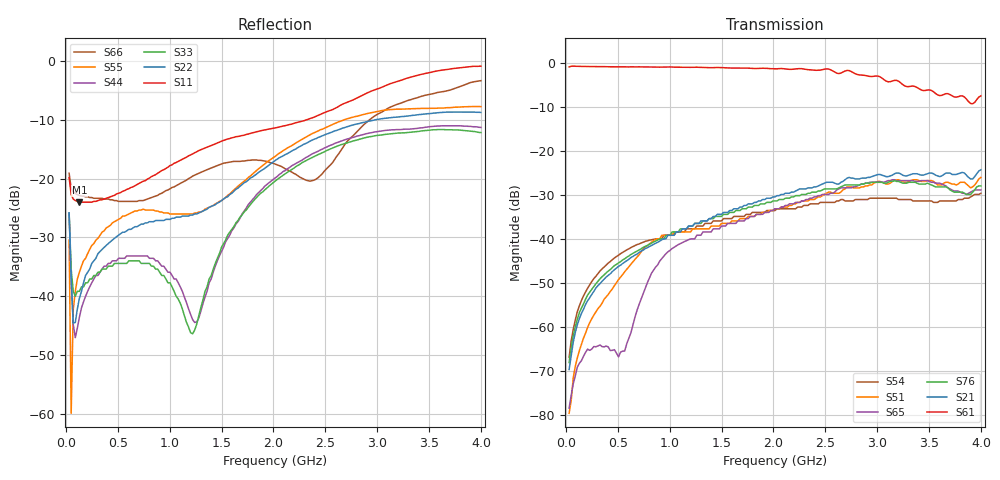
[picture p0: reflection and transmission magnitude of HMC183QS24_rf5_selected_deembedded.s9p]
!Hittite Microwave Corporation
!12 Elizabeth Drive
!Chelmsford, MA 01824
!Tel: 978-250-3343
!Fax: 978-250-3373
!Device: HMC183QS24, DC-2 GHz GaAS MMIC SP8T Non-Reflective Switch in 24-lead QSOP package
!Misc: Port 1 = RFCom, Port 2 = RF1, Port 3 = RF2, Port 4 = RF3, Port 5 = RF4, Port 6 = RF5, Port 7 = RF6, Port 8 = RF7, Port 9 = RF8, RF5 selected, Vctl=0/-5V
# MHZ S MA R 50
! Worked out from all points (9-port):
!   201 points, 30 MHz to 4 GHz, reference 50 ohm
!   strongest paths, dB at 30 MHz, 1.022 GHz, 2.015 GHz, 3.007 GHz, 4 GHz:
!     S61: -0.9, -0.9, -1.3, -3.0, -7.5
!     S21: -69.7, -39.2, -30.5, -25.4, -24.3
!     S76: -68.1, -38.4, -31.4, -27.1, -28.0
!     S65: -78.5, -42.2, -33.2, -27.1, -28.9
!     S51: -79.6, -39.2, -33.2, -26.9, -26.0
!     S54: -66.9, -39.2, -33.6, -30.8, -29.6
!   lowest |S11| = -24.0 dB at 129.2 MHz (marker M1), VSWR 1.13, Z = 56 - j2.86 ohm
!   |S11| at or under -10 dB: start of sweep to 2.319 GHz
